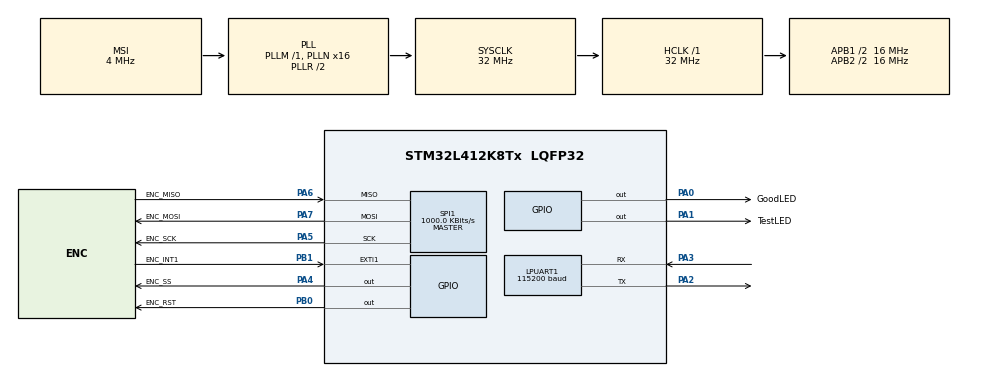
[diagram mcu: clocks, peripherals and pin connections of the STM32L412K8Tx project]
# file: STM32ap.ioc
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LPUART1.BaudRate=115200
LPUART1.WordLength=UART_WORDLENGTH_8B
Mcu.Family=STM32L4
Mcu.Name=STM32L412K8Tx
Mcu.Package=LQFP32
NVIC.EXTI1_IRQn=true\:4\:0\:true\:false\:true\:true\:true
NVIC.LPUART1_IRQn=true\:13\:0\:true\:false\:true\:true\:true
NVIC.PriorityGroup=NVIC_PRIORITYGROUP_4
PA0-CK_IN.GPIO_Label=GoodLED
PA0-CK_IN.GPIO_Speed=GPIO_SPEED_FREQ_MEDIUM
PA0-CK_IN.Signal=GPIO_Output
PA1.GPIO_Label=TestLED
PA1.GPIO_Speed=GPIO_SPEED_FREQ_MEDIUM
PA1.Signal=GPIO_Output
PA13\ (JTMS/SWDIO).Mode=Serial_Wire
PA13\ (JTMS/SWDIO).Signal=SYS_JTMS-SWDIO
PA14\ (JTCK/SWCLK).Mode=Serial_Wire
PA14\ (JTCK/SWCLK).Signal=SYS_JTCK-SWCLK
PA2.Mode=Asynchronous
PA2.Signal=LPUART1_TX
PA3.Mode=Asynchronous
PA3.Signal=LPUART1_RX
PA4.GPIO_Label=ENC_SS
PA4.GPIO_Speed=GPIO_SPEED_FREQ_MEDIUM
PA4.Signal=GPIO_Output
PA5.GPIO_Label=ENC_SCK
PA5.Mode=Full_Duplex_Master
PA5.Signal=SPI1_SCK
PA6.GPIO_Label=ENC_MISO
PA6.Mode=Full_Duplex_Master
PA6.Signal=SPI1_MISO
PA7.GPIO_Label=ENC_MOSI
PA7.Mode=Full_Duplex_Master
PA7.Signal=SPI1_MOSI
PB0.GPIO_Label=ENC_RST
PB0.GPIO_PuPd=GPIO_PULLUP
PB0.GPIO_Speed=GPIO_SPEED_FREQ_MEDIUM
PB0.Signal=GPIO_Output
PB1.GPIO_Label=ENC_INT1
PB1.Signal=GPXTI1
ProjectManager.HeapSize=0x200
ProjectManager.StackSize=0x400
ProjectManager.TargetToolchain=Makefile
RCC.ADCFreq_Value=32000000
RCC.AHBFreq_Value=32000000
RCC.APB1CLKDivider=RCC_HCLK_DIV2
RCC.APB1Freq_Value=16000000
RCC.APB1TimFreq_Value=32000000
RCC.APB2CLKDivider=RCC_HCLK_DIV2
RCC.APB2Freq_Value=16000000
RCC.APB2TimFreq_Value=32000000
RCC.CortexFreq_Value=32000000
RCC.HCLKFreq_Value=32000000
RCC.HSE_VALUE=8000000
RCC.HSI48_VALUE=48000000
RCC.HSI_VALUE=16000000
RCC.LSE_VALUE=32768
RCC.MSI_VALUE=4000000
RCC.PLLN=16
RCC.SYSCLKFreq_VALUE=32000000
RCC.SYSCLKSource=RCC_SYSCLKSOURCE_PLLCLK
RCC.USBFreq_Value=4000000
RCC.VCOOutputFreq_Value=64000000
SPI1.BaudRatePrescaler=SPI_BAUDRATEPRESCALER_16
SPI1.CalculateBaudRate=1000.0 KBits/s
SPI1.DataSize=SPI_DATASIZE_8BIT
SPI1.Direction=SPI_DIRECTION_2LINES
SPI1.Mode=SPI_MODE_MASTER
SPI1.NSSPMode=SPI_NSS_PULSE_DISABLE
SPI1.VirtualType=VM_MASTER
board=custom

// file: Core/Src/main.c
/* USER CODE BEGIN Header */
/**
  ******************************************************************************
  * @file           : main.c
  * @brief          : Main program body
  ******************************************************************************
  * @attention
  *
  * <h2><center>&copy; Copyright (c) 2021 STMicroelectronics.
  * All rights reserved.</center></h2>
  *
  * This software component is licensed by ST under BSD 3-Clause license,
  * the "License"; You may not use this file except in compliance with the
  * License. You may obtain a copy of the License at:
  *                        opensource.org/licenses/BSD-3-Clause
  *
  ******************************************************************************
  */
/* USER CODE END Header */
#include "main.h"

/* USER CODE BEGIN Includes */
#include "lwip/opt.h"
#include "lwip/init.h"
#include "lwip/netif.h"
#include "netif/etharp.h"
#include "lwip/lwip_timers.h"
#include "ethernetif.h"
#include "app_ethernet.h"
#include "tcp_echoserver.h"
#include "lwip/dhcp.h"
/* USER CODE END Includes */

UART_HandleTypeDef hlpuart1;

SPI_HandleTypeDef hspi1;

/* USER CODE BEGIN PV */
void ENC_GPIO_Init(void);
void ENC_SPI1_Init(void);
/* USER CODE END PV */

void SystemClock_Config(void);
static void MX_GPIO_Init(void);
static void MX_LPUART1_UART_Init(void);
static void MX_SPI1_Init(void);

/* USER CODE BEGIN 0 */

void ENC_GPIO_Init(void)
{
  MX_GPIO_Init();
}
void ENC_SPI1_Init(void)
{
  MX_SPI1_Init();
}

struct netif gnetif;
static void Netif_Config(void);

int _write(int file, char* p, int len)
{
    HAL_UART_Transmit(&hlpuart1,p,len,1000);
    return len;
}
/* USER CODE END 0 */

int main(void)
{

  /* MCU Configuration--------------------------------------------------------*/

  /* Reset of all peripherals, Initializes the Flash interface and the Systick. */
  HAL_Init();

  /* USER CODE BEGIN Init */

  /* USER CODE BEGIN SysInit */
  setvbuf(stdout,NULL,_IONBF,0);

  lwip_init();
  /* Configure the Network interface */
   Netif_Config();

   /* tcp echo server Init */
   tcp_echoserver_init();

  /* USER CODE END Init */

  /* Configure the system clock */
  SystemClock_Config();

  /* USER CODE BEGIN SysInit */
  setvbuf(stdout,NULL,_IONBF,0);

  lwip_init();
  /* Configure the Network interface */
   Netif_Config();

   /* tcp echo server Init */
   tcp_echoserver_init();

  /* USER CODE END Init */

  /* Configure the system clock */
  SystemClock_Config();

  /* USER CODE END SysInit */

  /* Initialize all configured peripherals */
  MX_GPIO_Init();
  MX_LPUART1_UART_Init();
  MX_SPI1_Init();
  /* USER CODE BEGIN 2 */

  // printf("RST Toggles!!\n");
  // HAL_GPIO_WritePin(ENC_RST_GPIO_Port, ENC_RST_Pin, GPIO_PIN_SET);
  // HAL_Delay(1000);
  // HAL_GPIO_WritePin(ENC_RST_GPIO_Port, ENC_RST_Pin, GPIO_PIN_RESET);
  // HAL_Delay(1000);
  // printf("SS Toggles!!\n");
  // HAL_GPIO_WritePin(ENC_SS_GPIO_Port, ENC_SS_Pin, GPIO_PIN_SET);
  // HAL_Delay(1000);
  // HAL_GPIO_WritePin(ENC_SS_GPIO_Port, ENC_SS_Pin, GPIO_PIN_RESET);
  // HAL_Delay(1000);
  // printf("GoodLED Toggles!!\n");
  // HAL_GPIO_WritePin(GoodLED_GPIO_Port, GoodLED_Pin, GPIO_PIN_SET);
  // HAL_Delay(1000);
  // HAL_GPIO_WritePin(GoodLED_GPIO_Port, GoodLED_Pin, GPIO_PIN_RESET);
  // HAL_Delay(1000);
  // printf("TestLED Toggles!!\n");
  // HAL_GPIO_WritePin(TestLED_GPIO_Port, TestLED_Pin, GPIO_PIN_SET);
  // HAL_Delay(1000);
  // HAL_GPIO_WritePin(TestLED_GPIO_Port, TestLED_Pin, GPIO_PIN_RESET);
  // HAL_Delay(1000);

   /* Notify user about the network interface config */
   User_notification(&gnetif);

  printf("START!!\n");
  printf("NETIF!!\n");
  /* USER CODE END 2 */

  /* Infinite loop */
  /* USER CODE BEGIN WHILE */
  while (1)
  {
    // HAL_Delay(1000);
    // printf("SPI Toggles!!\n");
    // uint8_t buf[4];
    // uint8_t buf2[4] = {0x34,0x34,0x56};
    // uint8_t inc = 0x11;//ENC_EREVID;

    // inc = 0x34;
    // ENC_SPI_SendBuf(&inc,&inc,1);
    // ENC_SPI_SendBuf(&inc,&inc,1);

    // ENC_SPI_SendBuf(buf2,buf2,3);

    // ENC_SPI_SendBuf(buf2,buf,3);
    // ENC_SPI_SendBuf(buf2,NULL,3);
    // ENC_SPI_SendBuf(NULL,buf,3);
    // ENC_SPI_SendBuf(NULL,NULL,3);
    // ENC_SPI_SendBuf(NULL,buf,1);
    // ENC_SPI_SendBuf(NULL,NULL,1);

    /* Read a received packet from the Ethernet buffers and send it
        to the lwIP for handling */
    ethernetif_input(&gnetif);

    /* Triggers actual ethernet transmission if transmission buffers are not empty */
    ethernet_transmit();

    /* Handle timeouts */
    sys_check_timeouts();
    HAL_Delay(50);
    /* USER CODE END WHILE */

  }
}

void SystemClock_Config(void)
{
  RCC_OscInitTypeDef RCC_OscInitStruct = {0};
  RCC_ClkInitTypeDef RCC_ClkInitStruct = {0};
  RCC_PeriphCLKInitTypeDef PeriphClkInit = {0};

  /** Configure the main internal regulator output voltage
  */
  if (HAL_PWREx_ControlVoltageScaling(PWR_REGULATOR_VOLTAGE_SCALE1) != HAL_OK)
  {
    Error_Handler();
  }
  /** Initializes the RCC Oscillators according to the specified parameters
  * in the RCC_OscInitTypeDef structure.
  */
  RCC_OscInitStruct.OscillatorType = RCC_OSCILLATORTYPE_MSI;
  RCC_OscInitStruct.MSIState = RCC_MSI_ON;
  RCC_OscInitStruct.MSICalibrationValue = 0;
  RCC_OscInitStruct.MSIClockRange = RCC_MSIRANGE_6;
  RCC_OscInitStruct.PLL.PLLState = RCC_PLL_ON;
  RCC_OscInitStruct.PLL.PLLSource = RCC_PLLSOURCE_MSI;
  RCC_OscInitStruct.PLL.PLLM = 1;
  RCC_OscInitStruct.PLL.PLLN = 16;
  RCC_OscInitStruct.PLL.PLLQ = RCC_PLLQ_DIV2;
  RCC_OscInitStruct.PLL.PLLR = RCC_PLLR_DIV2;
  if (HAL_RCC_OscConfig(&RCC_OscInitStruct) != HAL_OK)
  {
    Error_Handler();
  }
  /** Initializes the CPU, AHB and APB buses clocks
  */
  RCC_ClkInitStruct.ClockType = RCC_CLOCKTYPE_HCLK|RCC_CLOCKTYPE_SYSCLK
                              |RCC_CLOCKTYPE_PCLK1|RCC_CLOCKTYPE_PCLK2;
  RCC_ClkInitStruct.SYSCLKSource = RCC_SYSCLKSOURCE_PLLCLK;
  RCC_ClkInitStruct.AHBCLKDivider = RCC_SYSCLK_DIV1;
  RCC_ClkInitStruct.APB1CLKDivider = RCC_HCLK_DIV2;
  RCC_ClkInitStruct.APB2CLKDivider = RCC_HCLK_DIV2;

  if (HAL_RCC_ClockConfig(&RCC_ClkInitStruct, FLASH_LATENCY_1) != HAL_OK)
  {
    Error_Handler();
  }
  PeriphClkInit.PeriphClockSelection = RCC_PERIPHCLK_LPUART1;
  PeriphClkInit.Lpuart1ClockSelection = RCC_LPUART1CLKSOURCE_PCLK1;
  if (HAL_RCCEx_PeriphCLKConfig(&PeriphClkInit) != HAL_OK)
  {
    Error_Handler();
  }
}

static void MX_LPUART1_UART_Init(void)
{

  hlpuart1.Instance = LPUART1;
  hlpuart1.Init.BaudRate = 115200;
  hlpuart1.Init.WordLength = UART_WORDLENGTH_8B;
  hlpuart1.Init.StopBits = UART_STOPBITS_1;
  hlpuart1.Init.Parity = UART_PARITY_NONE;
  hlpuart1.Init.Mode = UART_MODE_TX_RX;
  hlpuart1.Init.HwFlowCtl = UART_HWCONTROL_NONE;
  hlpuart1.Init.OneBitSampling = UART_ONE_BIT_SAMPLE_DISABLE;
  hlpuart1.AdvancedInit.AdvFeatureInit = UART_ADVFEATURE_NO_INIT;
  if (HAL_UART_Init(&hlpuart1) != HAL_OK)
  {
    Error_Handler();
  }

}

static void MX_SPI1_Init(void)
{

  /* SPI1 parameter configuration*/
  hspi1.Instance = SPI1;
  hspi1.Init.Mode = SPI_MODE_MASTER;
  hspi1.Init.Direction = SPI_DIRECTION_2LINES;
  hspi1.Init.DataSize = SPI_DATASIZE_8BIT;
  hspi1.Init.CLKPolarity = SPI_POLARITY_LOW;
  hspi1.Init.CLKPhase = SPI_PHASE_1EDGE;
  hspi1.Init.NSS = SPI_NSS_SOFT;
  hspi1.Init.BaudRatePrescaler = SPI_BAUDRATEPRESCALER_16;
  hspi1.Init.FirstBit = SPI_FIRSTBIT_MSB;
  hspi1.Init.TIMode = SPI_TIMODE_DISABLE;
  hspi1.Init.CRCCalculation = SPI_CRCCALCULATION_DISABLE;
  hspi1.Init.CRCPolynomial = 7;
  hspi1.Init.CRCLength = SPI_CRC_LENGTH_DATASIZE;
  hspi1.Init.NSSPMode = SPI_NSS_PULSE_DISABLE;
  if (HAL_SPI_Init(&hspi1) != HAL_OK)
  {
    Error_Handler();
  }

}

static void MX_GPIO_Init(void)
{
  GPIO_InitTypeDef GPIO_InitStruct = {0};

  /* GPIO Ports Clock Enable */
  __HAL_RCC_GPIOA_CLK_ENABLE();
  __HAL_RCC_GPIOB_CLK_ENABLE();

  /*Configure GPIO pin Output Level */
  HAL_GPIO_WritePin(GPIOA, GoodLED_Pin|TestLED_Pin|ENC_SS_Pin, GPIO_PIN_RESET);

  /*Configure GPIO pin Output Level */
  HAL_GPIO_WritePin(ENC_RST_GPIO_Port, ENC_RST_Pin, GPIO_PIN_RESET);

  /*Configure GPIO pins : GoodLED_Pin TestLED_Pin ENC_SS_Pin */
  GPIO_InitStruct.Pin = GoodLED_Pin|TestLED_Pin|ENC_SS_Pin;
  GPIO_InitStruct.Mode = GPIO_MODE_OUTPUT_PP;
  GPIO_InitStruct.Pull = GPIO_NOPULL;
  GPIO_InitStruct.Speed = GPIO_SPEED_FREQ_MEDIUM;
  HAL_GPIO_Init(GPIOA, &GPIO_InitStruct);

  /*Configure GPIO pin : ENC_RST_Pin */
  GPIO_InitStruct.Pin = ENC_RST_Pin;
  GPIO_InitStruct.Mode = GPIO_MODE_OUTPUT_PP;
  GPIO_InitStruct.Pull = GPIO_PULLUP;
  GPIO_InitStruct.Speed = GPIO_SPEED_FREQ_MEDIUM;
  HAL_GPIO_Init(ENC_RST_GPIO_Port, &GPIO_InitStruct);

  /*Configure GPIO pin : ENC_INT1_Pin */
  GPIO_InitStruct.Pin = ENC_INT1_Pin;
  GPIO_InitStruct.Mode = GPIO_MODE_IT_RISING;
  GPIO_InitStruct.Pull = GPIO_NOPULL;
  HAL_GPIO_Init(ENC_INT1_GPIO_Port, &GPIO_InitStruct);

  /* EXTI interrupt init*/
  HAL_NVIC_SetPriority(EXTI1_IRQn, 4, 0);
  HAL_NVIC_EnableIRQ(EXTI1_IRQn);

}

/* USER CODE BEGIN 4 */
/**
  * @brief  Configurates the network interface
  * @param  None
  * @retval None
  */
static void Netif_Config(void)
{
  struct ip_addr ipaddr;
  struct ip_addr netmask;
  struct ip_addr gw;

  IP4_ADDR(&ipaddr, IP_ADDR0, IP_ADDR1, IP_ADDR2, IP_ADDR3);
  IP4_ADDR(&netmask, NETMASK_ADDR0, NETMASK_ADDR1 , NETMASK_ADDR2, NETMASK_ADDR3);
  IP4_ADDR(&gw, GW_ADDR0, GW_ADDR1, GW_ADDR2, GW_ADDR3);

  /* Add the network interface */
  netif_add(&gnetif, &ipaddr, &netmask, &gw, NULL, &ethernetif_init, &ethernet_input);

  /* Registers the default network interface */
  netif_set_default(&gnetif);

  if (netif_is_link_up(&gnetif))
  {
    /* When the netif is fully configured this function must be called */
    netif_set_up(&gnetif);
  }
  else
  {
    /* When the netif link is down this function must be called */
    netif_set_down(&gnetif);
  }

  /* Set the link callback function, this function is called on change of link status*/
  netif_set_link_callback(&gnetif, ethernetif_update_config);
}

/**
  * @brief  EXTI line detection callbacks
  * @param  GPIO_Pin: Specifies the pins connected EXTI line
  * @retval None
  */
void HAL_GPIO_EXTI_Callback(uint16_t GPIO_Pin)
{
//  /* Get the IT status register value */
//  if(BSP_IO_ITGetStatus(MII_INT_PIN))
  if (GPIO_Pin == ENC_INT_PIN)
  {
    ethernetif_set_link(&gnetif);
  }
  //BSP_IO_ITClear();
}
/* USER CODE END 4 */

void Error_Handler(void)
{
  __disable_irq();
  while (1)
  {
  }
}

/************************ (C) COPYRIGHT STMicroelectronics *****END OF FILE****/
